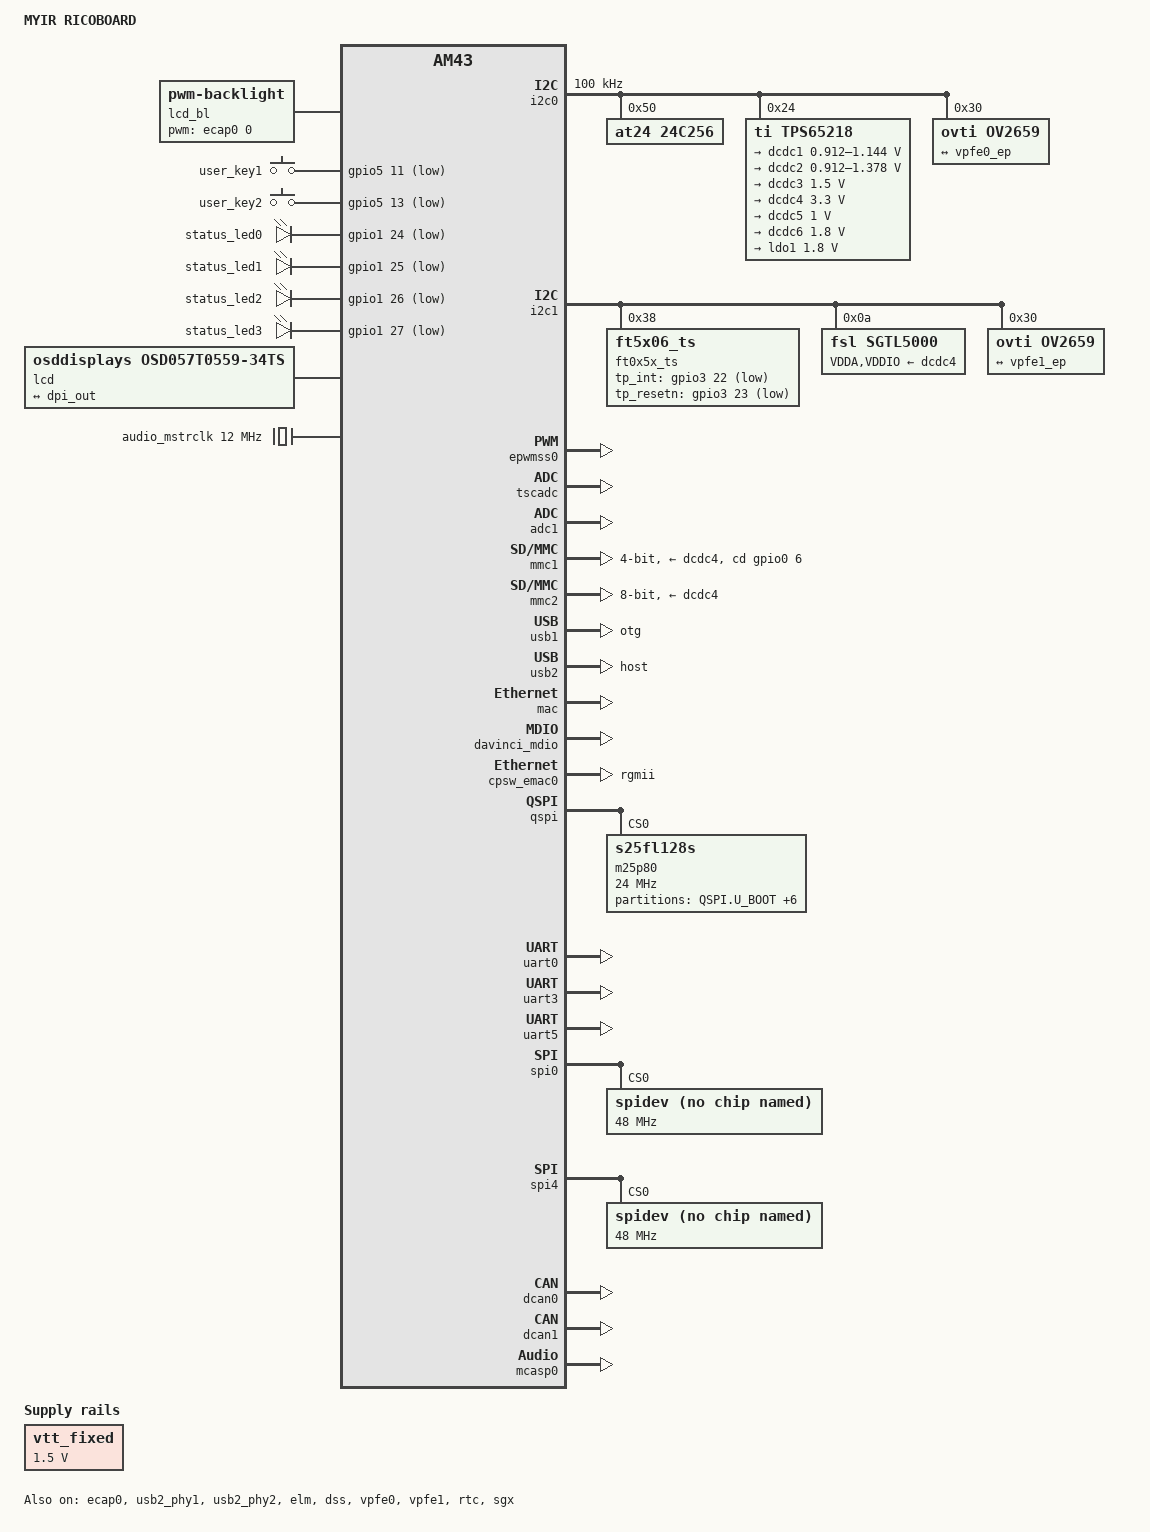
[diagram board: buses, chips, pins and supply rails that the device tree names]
/*
* Copyright (C) 2015 MYIR Tech Limited. - http://www.myirtech.com
*
* This program is free software; you can redistribute it and/or modify
* it under the terms of the GNU General Public License version 2 as
* published by the Free Software Foundation.
*/

/* MYIR RICOBOARD */

/dts-v1/;

#include "am4372.dtsi"
#include <dt-bindings/pinctrl/am43xx.h>
#include <dt-bindings/pwm/pwm.h>
#include <dt-bindings/gpio/gpio.h>
#include <dt-bindings/input/input.h>

/ {
	model = "MYIR RICOBOARD";
	compatible = "myir,ricoboard","ti,am4372","ti,am43";

	aliases {
		display0 = &lcd0;
	};

	vtt_fixed: fixedregulator-vtt {
		compatible = "regulator-fixed";
		regulator-name = "vtt_fixed";
		regulator-min-microvolt = <1500000>;
		regulator-max-microvolt = <1500000>;
		regulator-always-on;
		regulator-boot-on;
		enable-active-high;
//		gpio = <&gpio5 7 GPIO_ACTIVE_HIGH>;
	};

	lcd_bl: backlight {
		compatible = "pwm-backlight";
		pwms = <&ecap0 0 50000 PWM_POLARITY_INVERTED>;
		brightness-levels = <0 51 53 56 62 75 101 152 255>;
		default-brightness-level = <5>;
	};
	/* 4.3 inch, 480x272 resolution LCD, MYiR */
/*	
	lcd_bl: backlight {
		compatible = "pwm-backlight";
		pwms = <&ecap0 0 50000 PWM_POLARITY_INVERTED>;
		brightness-levels = <0 1 5 20 40 80 160 200 255>;
		default-brightness-level = <2>;
	};
*/	
	gpio_keys: gpio_key_pads@0 {
		compatible = "gpio-keys";
		#address-cells = <1>;
		#size-cells = <0>;
		autorepeat;

		switch@1 {
			label = "user_key1";
			linux,code = <102>;
			gpios = <&gpio5 11 GPIO_ACTIVE_LOW>;
			gpio-key,wakeup;
		};
		
		switch@2 {
			label = "user_key2";
			linux,code = <158>;
			gpios = <&gpio5 13 GPIO_ACTIVE_LOW>;
			gpio-key,wakeup;
		};		
	};

	leds {
		compatible = "gpio-leds";

		pinctrl-names = "default";
		pinctrl-0 = <&leds_pins>;
		led@0 {
			label = "status_led0";
			gpios = <&gpio1 24 GPIO_ACTIVE_LOW>;	/* Bank 1, pin 24 */
			linux,default-trigger = "cpu0";
			default-state = "off";
		};

		led@1 {
			label = "status_led1";
			gpios = <&gpio1 25 GPIO_ACTIVE_LOW>;	/* Bank 1, pin 25 */
			linux,default-trigger = "heartbeat";
			default-state = "off";
		};

		led@2 {
			label = "status_led2";
			gpios = <&gpio1 26 GPIO_ACTIVE_LOW>;	/* Bank 1, pin 26 */
			linux,default-trigger = "mmc0";
			default-state = "off";
		};


		led@3 {
			label = "status_led3";
			gpios = <&gpio1 27 GPIO_ACTIVE_LOW>;	/* Bank 1, pin 27 */
			default-state = "off";
		};
	};
		
	lcd0: display {
		compatible = "osddisplays,osd057T0559-34ts", "panel-dpi";
		label = "lcd";

		panel-timing {
			clock-frequency = <36000000>;
			hactive = <800>;
			vactive = <480>;
			hfront-porch = <210>;
			hback-porch = <1>;
			hsync-len = <43>;
			vback-porch = <1>;
			vfront-porch = <22>;
			vsync-len = <22>;
			hsync-active = <0>;
			vsync-active = <0>;
			de-active = <1>;
			pixelclk-active = <1>;
		};

		port {
			lcd_in: endpoint {
				remote-endpoint = <&dpi_out>;
			};
		};
	};
	/* 4.3 inch, 480x272 resolution LCD, MYiR */
/*		
	lcd0: display {
		compatible = "osddisplays,osd057T0559-34ts", "panel-dpi";
		label = "lcd";

		panel-timing {
			clock-frequency = <9600000>;
			hactive = <480>;
			vactive = <272>;
			hfront-porch = <2>;
			hback-porch = <2>;
			hsync-len = <41>;
			vback-porch = <2>;
			vfront-porch = <2>;
			vsync-len = <10>;
			hsync-active = <0>;
			vsync-active = <0>;
			de-active = <1>;
			pixelclk-active = <1>;
		};

		port {
			lcd_in: endpoint {
				remote-endpoint = <&dpi_out>;
			};
		};
	};
*/

	sound0: sound@0 {
		compatible = "simple-audio-card";
		simple-audio-card,name = "MYD-C437X-EVM";
//		simple-audio-card,widgets =
//			"Headphone", "Headphone Jack",
//			"Line", "Line In";
		simple-audio-card,routing =
			"MIC_IN", "Mic Jack",
			"Mic Jack", "Mic Bias",
			"Headphone Jack", "HP_OUT";
		simple-audio-card,format = "i2s";
		simple-audio-card,bitclock-master = <&sound0_master>;
		simple-audio-card,frame-master = <&sound0_master>;
		simple-audio-card,bitclock-inversion;

		simple-audio-card,cpu {
			sound-dai = <&mcasp1>;
			system-clock-frequency = <12000000>;
		};

		sound0_master: simple-audio-card,codec {
			sound-dai = <&sgtl5000>;
			system-clock-frequency = <12000000>;
		};
	};

	audio_mstrclk: mclk_osc {
		compatible = "fixed-clock";
		#clock-cells = <0>;
		clock-frequency = <12000000>;
	};

};

&am43xx_pinmux {
	pinctrl-names = "default", "sleep";
	pinctrl-0 = <&clkout_pins &gpio_keys_pins_default &unused_pins_default>;
	pinctrl-1 = <&unused_pins_sleep &gpio_keys_pins_sleep>;

        clkout_pins: pinmux_clkout_pins {
                pinctrl-single,pins = <
               0x274 (PIN_OUTPUT_PULLUP | MUX_MODE3)    /* xdma_event_intr1.clkout2 */
	       0x270 (PIN_OUTPUT_PULLUP | MUX_MODE3)    /* xdma_event_intr0.clkout1 mode 3*/
                >;
        };

	i2c0_pins_default: i2c0_pins_default {
		pinctrl-single,pins = <
			0x188 (PIN_INPUT | SLEWCTRL_FAST | MUX_MODE0) /* i2c0_sda.i2c0_sda */
			0x18c (PIN_INPUT | SLEWCTRL_FAST | MUX_MODE0) /* i2c0_scl.i2c0_scl */
		>;
	};

	i2c0_pins_sleep: i2c0_pins_sleep {
		pinctrl-single,pins = <
			0x188 (PIN_INPUT_PULLDOWN | MUX_MODE7)
			0x18c (PIN_INPUT_PULLDOWN | MUX_MODE7)
		>;
	};

	i2c1_pins_default: i2c1_pins_default {
		pinctrl-single,pins = <
			0x240 ( PIN_INPUT_PULLUP | SLEWCTRL_FAST | MUX_MODE1 ) /* (G20) gpio5_10.I2C1_SCL */
			0x248 ( PIN_INPUT_PULLUP | SLEWCTRL_FAST | MUX_MODE1 ) /* (E25) gpio5_12.I2C1_SDA */
		>;
	};

	i2c1_pins_sleep: i2c1_pins_sleep {
		pinctrl-single,pins = <
			0x240 (PIN_INPUT_PULLUP | MUX_MODE7)
			0x248 (PIN_INPUT_PULLUP | MUX_MODE7)
		>;
	};

	mmc1_pins_default: pinmux_mmc1_pins_default {
		pinctrl-single,pins = <
			0x100 (PIN_INPUT_PULLUP | MUX_MODE0) /* mmc0_clk.mmc0_clk */
			0x104 (PIN_INPUT_PULLUP | MUX_MODE0) /* mmc0_cmd.mmc0_cmd */
			0x0f0 (PIN_INPUT_PULLUP | MUX_MODE0) /* mmc0_dat0.mmc0_dat0 */
			0x0f4 (PIN_INPUT_PULLUP | MUX_MODE0) /* mmc0_dat1.mmc0_dat1 */
			0x0f8 (PIN_INPUT_PULLUP | MUX_MODE0) /* mmc0_dat2.mmc0_dat2 */
			0x0fc (PIN_INPUT_PULLUP | MUX_MODE0) /* mmc0_dat3.mmc0_dat3 */
			0x160 (PIN_INPUT | MUX_MODE7) /* spi0_cs1.gpio0_6 */
		>;
	};

	mmc1_pins_sleep: pinmux_mmc1_pins_sleep {
		pinctrl-single,pins = <
			0x100 (PIN_INPUT_PULLDOWN | MUX_MODE7)
			0x104 (PIN_INPUT | PULL_DISABLE | MUX_MODE7)
			0x0f0 (PIN_INPUT | PULL_DISABLE | MUX_MODE7)
			0x0f4 (PIN_INPUT | PULL_DISABLE | MUX_MODE7)
			0x0f8 (PIN_INPUT | PULL_DISABLE | MUX_MODE7)
			0x0fc (PIN_INPUT | PULL_DISABLE | MUX_MODE7)
			0x160 (PIN_INPUT | PULL_DISABLE | MUX_MODE7)
		>;
	};

	emmc_pins_default: emmc_pins_default {
		pinctrl-single,pins = <
			0x80 ( PIN_INPUT_PULLUP | MUX_MODE2 ) /* (B9) gpmc_csn1.mmc1_clk */
			0x84 ( PIN_INPUT_PULLUP | MUX_MODE2 ) /* (F10) gpmc_csn2.mmc1_cmd */
			0x00 ( PIN_INPUT_PULLUP | MUX_MODE1 ) /* (B5) gpmc_ad0.mmc1_dat0 */
			0x04 ( PIN_INPUT_PULLUP | MUX_MODE1 ) /* (A5) gpmc_ad1.mmc1_dat1 */
			0x08 ( PIN_INPUT_PULLUP | MUX_MODE1 ) /* (B6) gpmc_ad2.mmc1_dat2 */
			0x0c ( PIN_INPUT_PULLUP | MUX_MODE1 ) /* (A6) gpmc_ad3.mmc1_dat3 */
			0x10 ( PIN_INPUT_PULLUP | MUX_MODE1 ) /* (B7) gpmc_ad4.mmc1_dat4 */
			0x14 ( PIN_INPUT_PULLUP | MUX_MODE1 ) /* (A7) gpmc_ad5.mmc1_dat5 */
			0x18 ( PIN_INPUT_PULLUP | MUX_MODE1 ) /* (C8) gpmc_ad6.mmc1_dat6 */
			0x1c ( PIN_INPUT_PULLUP | MUX_MODE1 ) /* (B8) gpmc_ad7.mmc1_dat7 */
		>;
	};

	emmc_pins_sleep: emmc_pins_sleep {
		pinctrl-single,pins = <
			0x80 (PIN_INPUT_PULLDOWN | MUX_MODE7) /* (B9) gpmc_csn1.mmc1_clk */
			0x84 (PIN_INPUT_PULLDOWN | MUX_MODE7) /* (F10) gpmc_csn2.mmc1_cmd */
			0x00 (PIN_INPUT_PULLDOWN | MUX_MODE7) /* (B5) gpmc_ad0.mmc1_dat0 */
			0x04 (PIN_INPUT_PULLDOWN | MUX_MODE7) /* (A5) gpmc_ad1.mmc1_dat1 */
			0x08 (PIN_INPUT_PULLDOWN | MUX_MODE7) /* (B6) gpmc_ad2.mmc1_dat2 */
			0x0c (PIN_INPUT_PULLDOWN | MUX_MODE7) /* (A6) gpmc_ad3.mmc1_dat3 */
			0x10 (PIN_INPUT_PULLDOWN | MUX_MODE7) /* (B7) gpmc_ad4.mmc1_dat4 */
			0x14 (PIN_INPUT_PULLDOWN | MUX_MODE7) /* (A7) gpmc_ad5.mmc1_dat5 */
			0x18 (PIN_INPUT_PULLDOWN | MUX_MODE7) /* (C8) gpmc_ad6.mmc1_dat6 */
			0x1c (PIN_INPUT_PULLDOWN | MUX_MODE7) /* (B8) gpmc_ad7.mmc1_dat7 */
		>;
	};

	ecap0_pins_default: backlight_pins_default {
		pinctrl-single,pins = <
			0x164 MUX_MODE0       /* eCAP0_in_PWM0_out.eCAP0_in_PWM0_out MODE0 */
		>;
	};

	ecap0_pins_sleep: backlight_pins_sleep {
		pinctrl-single,pins = <
			0x164 (PIN_INPUT_PULLDOWN | MUX_MODE7)
		>;
	};

	pixcir_ts_pins_default: pixcir_ts_pins_default {
		pinctrl-single,pins = <
			0x264 (PIN_INPUT_PULLUP | MUX_MODE7)  /* spi2_d0.gpio3_22 */
		>;
	};

	pixcir_ts_pins_sleep: pixcir_ts_pins_sleep {
		pinctrl-single,pins = <
			0x264 (PIN_INPUT | PULL_DISABLE | MUX_MODE7)  /* spi2_d0.gpio3_22 */
		>;
	};
	
	ft5x0x_pins_default: ft5x0x_pins_default {
		pinctrl-single,pins = <
			0x264 ( PIN_INPUT | MUX_MODE7 ) /* (P22) spi2_d0.gpio3[22] */
			0x268 ( PIN_OUTPUT_PULLUP | MUX_MODE7 ) /* (P20) spi2_d1.gpio3[23] */
		>;
	};

	ft5x0x_pins_sleep: ft5x0x_pins_sleep {
		pinctrl-single,pins = <
			0x264 ( PIN_INPUT_PULLDOWN | MUX_MODE7 ) /* (P22) spi2_d0.gpio3[22] */
			0x268 ( PIN_INPUT_PULLDOWN | MUX_MODE7 ) /* (P20) spi2_d1.gpio3[23] */
		>;
	};

	cpsw_default: cpsw_default {
		pinctrl-single,pins = <
			/* Slave 1 */
			0x114 (PIN_OUTPUT_PULLDOWN | MUX_MODE2)	/* mii1_txen.rgmii1_txen */
			0x118 (PIN_INPUT_PULLDOWN | MUX_MODE2)	/* mii1_rxdv.rgmii1_rxctl */
			0x11c (PIN_OUTPUT_PULLDOWN | MUX_MODE2)	/* mii1_txd1.rgmii1_txd3 */
			0x120 (PIN_OUTPUT_PULLDOWN | MUX_MODE2)	/* mii1_txd0.rgmii1_txd2 */
			0x124 (PIN_OUTPUT_PULLDOWN | MUX_MODE2)	/* mii1_txd1.rgmii1_txd1 */
			0x128 (PIN_OUTPUT_PULLDOWN | MUX_MODE2)	/* mii1_txd0.rgmii1_txd0 */
			0x12c (PIN_OUTPUT_PULLDOWN | MUX_MODE2)	/* mii1_txclk.rmii1_tclk */
			0x130 (PIN_INPUT_PULLDOWN | MUX_MODE2)	/* mii1_rxclk.rmii1_rclk */
			0x134 (PIN_INPUT_PULLDOWN | MUX_MODE2)	/* mii1_rxd1.rgmii1_rxd3 */
			0x138 (PIN_INPUT_PULLDOWN | MUX_MODE2)	/* mii1_rxd0.rgmii1_rxd2 */
			0x13c (PIN_INPUT_PULLDOWN | MUX_MODE2)	/* mii1_rxd1.rgmii1_rxd1 */
			0x140 (PIN_INPUT_PULLDOWN | MUX_MODE2)	/* mii1_rxd0.rgmii1_rxd0 */

//			/* Slave 2 */
//			0x58 (PIN_OUTPUT_PULLDOWN | MUX_MODE2)	/* gpmc_a6.rgmii2_tclk */
//			0x40 (PIN_OUTPUT_PULLDOWN | MUX_MODE2)	/* gpmc_a0.rgmii2_tctl */
//			0x54 (PIN_OUTPUT_PULLDOWN | MUX_MODE2)	/* gpmc_a5.rgmii2_td0 */
//			0x50 (PIN_OUTPUT_PULLDOWN | MUX_MODE2)	/* gpmc_a4.rgmii2_td1 */
//			0x4c (PIN_OUTPUT_PULLDOWN | MUX_MODE2)	/* gpmc_a3.rgmii2_td2 */
//			0x48 (PIN_OUTPUT_PULLDOWN | MUX_MODE2)	/* gpmc_a2.rgmii2_td3 */
//			0x5c (PIN_INPUT_PULLDOWN | MUX_MODE2)	/* gpmc_a7.rgmii2_rclk */
//			0x44 (PIN_INPUT_PULLDOWN | MUX_MODE2)	/* gpmc_a1.rgmii2_rtcl */
//			0x6c (PIN_INPUT_PULLDOWN | MUX_MODE2)	/* gpmc_a11.rgmii2_rd0 */
//			0x68 (PIN_INPUT_PULLDOWN | MUX_MODE2)	/* gpmc_a10.rgmii2_rd1 */
//			0x64 (PIN_INPUT_PULLDOWN | MUX_MODE2)	/* gpmc_a9.rgmii2_rd2 */
//			0x60 (PIN_INPUT_PULLDOWN | MUX_MODE2)	/* gpmc_a8.rgmii2_rd3 */
		>;
	};

	cpsw_sleep: cpsw_sleep {
		pinctrl-single,pins = <
			/* Slave 1 reset value */
			0x114 (PIN_INPUT_PULLDOWN | MUX_MODE7)
			0x118 (PIN_INPUT_PULLDOWN | MUX_MODE7)
			0x11c (PIN_INPUT_PULLDOWN | MUX_MODE7)
			0x120 (PIN_INPUT_PULLDOWN | MUX_MODE7)
			0x124 (PIN_INPUT_PULLDOWN | MUX_MODE7)
			0x128 (PIN_INPUT_PULLDOWN | MUX_MODE7)
			0x12c (PIN_INPUT_PULLDOWN | MUX_MODE7)
			0x130 (PIN_INPUT_PULLDOWN | MUX_MODE7)
			0x134 (PIN_INPUT | PULL_DISABLE | MUX_MODE7)
			0x138 (PIN_INPUT | PULL_DISABLE | MUX_MODE7)
			0x13c (PIN_INPUT | PULL_DISABLE | MUX_MODE7)
			0x140 (PIN_INPUT | PULL_DISABLE | MUX_MODE7)

//			/* Slave 2 reset value */
//			0x58 (PIN_INPUT_PULLDOWN | MUX_MODE7)
//			0x40 (PIN_INPUT_PULLDOWN | MUX_MODE7)
//			0x54 (PIN_INPUT_PULLDOWN | MUX_MODE7)
//			0x50 (PIN_INPUT_PULLDOWN | MUX_MODE7)
//			0x4c (PIN_INPUT_PULLDOWN | MUX_MODE7)
//			0x48 (PIN_INPUT_PULLDOWN | MUX_MODE7)
//			0x5c (PIN_INPUT_PULLDOWN | MUX_MODE7)
//			0x44 (PIN_INPUT_PULLDOWN | MUX_MODE7)
//			0x6c (PIN_INPUT_PULLDOWN | MUX_MODE7)
//			0x68 (PIN_INPUT_PULLDOWN | MUX_MODE7)
//			0x64 (PIN_INPUT_PULLDOWN | MUX_MODE7)
//			0x60 (PIN_INPUT_PULLDOWN | MUX_MODE7)
		>;
	};

	davinci_mdio_default: davinci_mdio_default {
		pinctrl-single,pins = <
			/* MDIO */
			0x148 (PIN_INPUT_PULLUP | SLEWCTRL_FAST | MUX_MODE0)	/* mdio_data.mdio_data */
			0x14c (PIN_OUTPUT_PULLUP | MUX_MODE0)			/* mdio_clk.mdio_clk */
		>;
	};

	davinci_mdio_sleep: davinci_mdio_sleep {
		pinctrl-single,pins = <
			/* MDIO reset value */
			0x148 (PIN_INPUT | PULL_DISABLE | MUX_MODE7)
			0x14c (PIN_INPUT | PULL_DISABLE | MUX_MODE7)
		>;
	};

	qspi1_default: qspi1_default {
		pinctrl-single,pins = <
			0x7c (PIN_INPUT_PULLUP | MUX_MODE3)
			0x88 (PIN_INPUT_PULLUP | MUX_MODE2)
			0x90 (PIN_INPUT_PULLUP | MUX_MODE3)
			0x94 (PIN_INPUT_PULLUP | MUX_MODE3)
			0x98 (PIN_INPUT_PULLUP | MUX_MODE3)
			0x9c (PIN_INPUT_PULLUP | MUX_MODE3)
		>;
	};

	nand_flash_x8_default: nand_flash_x8_default {
		pinctrl-single,pins = <
			0x0  (PIN_INPUT  | MUX_MODE0)	/* gpmc_ad0.gpmc_ad0 */
			0x4  (PIN_INPUT  | MUX_MODE0)	/* gpmc_ad1.gpmc_ad1 */
			0x8  (PIN_INPUT  | MUX_MODE0)	/* gpmc_ad2.gpmc_ad2 */
			0xc  (PIN_INPUT  | MUX_MODE0)	/* gpmc_ad3.gpmc_ad3 */
			0x10 (PIN_INPUT  | MUX_MODE0)	/* gpmc_ad4.gpmc_ad4 */
			0x14 (PIN_INPUT  | MUX_MODE0)	/* gpmc_ad5.gpmc_ad5 */
			0x18 (PIN_INPUT  | MUX_MODE0)	/* gpmc_ad6.gpmc_ad6 */
			0x1c (PIN_INPUT  | MUX_MODE0)	/* gpmc_ad7.gpmc_ad7 */
			0x70 (PIN_INPUT_PULLUP | MUX_MODE0)	/* gpmc_wait0.gpmc_wait0 */
			0x74 (PIN_OUTPUT_PULLUP | MUX_MODE7)	/* gpmc_wpn.gpmc_wpn */
			0x7c (PIN_OUTPUT | MUX_MODE0)		/* gpmc_csn0.gpmc_csn0  */
			0x90 (PIN_OUTPUT | MUX_MODE0)		/* gpmc_advn_ale.gpmc_advn_ale */
			0x94 (PIN_OUTPUT | MUX_MODE0)		/* gpmc_oen_ren.gpmc_oen_ren */
			0x98 (PIN_OUTPUT | MUX_MODE0)		/* gpmc_wen.gpmc_wen */
			0x9c (PIN_OUTPUT | MUX_MODE0)		/* gpmc_be0n_cle.gpmc_be0n_cle */
		>;
	};

	nand_flash_x8_sleep: nand_flash_x8_sleep {
		pinctrl-single,pins = <
			0x0  (PIN_INPUT_PULLDOWN | MUX_MODE7)	/* gpmc_ad0.gpmc_ad0 */
			0x4  (PIN_INPUT_PULLDOWN | MUX_MODE7)	/* gpmc_ad1.gpmc_ad1 */
			0x8  (PIN_INPUT_PULLDOWN | MUX_MODE7)	/* gpmc_ad2.gpmc_ad2 */
			0xc  (PIN_INPUT_PULLDOWN | MUX_MODE7)	/* gpmc_ad3.gpmc_ad3 */
			0x10 (PIN_INPUT_PULLDOWN | MUX_MODE7)	/* gpmc_ad4.gpmc_ad4 */
			0x14 (PIN_INPUT_PULLDOWN | MUX_MODE7)	/* gpmc_ad5.gpmc_ad5 */
			0x18 (PIN_INPUT_PULLDOWN | MUX_MODE7)	/* gpmc_ad6.gpmc_ad6 */
			0x1c (PIN_INPUT_PULLDOWN | MUX_MODE7)	/* gpmc_ad7.gpmc_ad7 */
			0x70 (PIN_INPUT | PULL_DISABLE | MUX_MODE7)	/* gpmc_wait0.gpmc_wait0 */
			0x74 (PIN_INPUT_PULLDOWN | MUX_MODE7)	/* gpmc_wpn.gpmc_wpn */
			0x7c (PIN_INPUT | PULL_DISABLE | MUX_MODE7)		/* gpmc_csn0.gpmc_csn0  */
			0x90 (PIN_INPUT | PULL_DISABLE | MUX_MODE7)		/* gpmc_advn_ale.gpmc_advn_ale */
			0x94 (PIN_INPUT_PULLDOWN | MUX_MODE7)		/* gpmc_oen_ren.gpmc_oen_ren */
			0x98 (PIN_INPUT_PULLDOWN |  MUX_MODE7)		/* gpmc_wen.gpmc_wen */
			0x9c (PIN_INPUT | PULL_DISABLE | MUX_MODE7)		/* gpmc_be0n_cle.gpmc_be0n_cle */
		>;
	};

	dss_pinctrl_default: dss_pinctrl_default {
		pinctrl-single,pins = <
			0x020 (PIN_OUTPUT_PULLUP | MUX_MODE1) /*gpmc ad 8 -> DSS DATA 23 */
			0x024 (PIN_OUTPUT_PULLUP | MUX_MODE1)
			0x028 (PIN_OUTPUT_PULLUP | MUX_MODE1)
			0x02C (PIN_OUTPUT_PULLUP | MUX_MODE1)
			0x030 (PIN_OUTPUT_PULLUP | MUX_MODE1)
			0x034 (PIN_OUTPUT_PULLUP | MUX_MODE1)
			0x038 (PIN_OUTPUT_PULLUP | MUX_MODE1)
			0x03C (PIN_OUTPUT_PULLUP | MUX_MODE1) /*gpmc ad 15 -> DSS DATA 16 */
			0x0a0 (PIN_OUTPUT_PULLUP | MUX_MODE0) /* DSS DATA 0 */
			0x0a4 (PIN_OUTPUT_PULLUP | MUX_MODE0)
			0x0a8 (PIN_OUTPUT_PULLUP | MUX_MODE0)
			0x0ac (PIN_OUTPUT_PULLUP | MUX_MODE0)
			0x0b0 (PIN_OUTPUT_PULLUP | MUX_MODE0)
			0x0b4 (PIN_OUTPUT_PULLUP | MUX_MODE0)
			0x0b8 (PIN_OUTPUT_PULLUP | MUX_MODE0)
			0x0bc (PIN_OUTPUT_PULLUP | MUX_MODE0)
			0x0c0 (PIN_OUTPUT_PULLUP | MUX_MODE0)
			0x0c4 (PIN_OUTPUT_PULLUP | MUX_MODE0)
			0x0c8 (PIN_OUTPUT_PULLUP | MUX_MODE0)
			0x0cc (PIN_OUTPUT_PULLUP | MUX_MODE0)
			0x0d0 (PIN_OUTPUT_PULLUP | MUX_MODE0)
			0x0d4 (PIN_OUTPUT_PULLUP | MUX_MODE0)
			0x0d8 (PIN_OUTPUT_PULLUP | MUX_MODE0)
			0x0dc (PIN_OUTPUT_PULLUP | MUX_MODE0) /* DSS DATA 15 */
			0x0e0 (PIN_OUTPUT_PULLUP | MUX_MODE0) /* DSS VSYNC */
			0x0e4 (PIN_OUTPUT_PULLUP | MUX_MODE0) /* DSS HSYNC */
			0x0e8 (PIN_OUTPUT_PULLUP | MUX_MODE0) /* DSS PCLK */
			0x0ec (PIN_OUTPUT_PULLUP | MUX_MODE0) /* DSS AC BIAS EN */
			0x26c ( PIN_OUTPUT_PULLUP | MUX_MODE7 ) /* (T23) spi2_cs0.gpio3[25]  GPIO 3_25 for LCD_RESET */
		>;
	};

	dss_pinctrl_sleep: dss_pinctrl_sleep {
		pinctrl-single,pins = <
			0x020 (DS0_PULL_UP_DOWN_EN | PIN_INPUT_PULLDOWN | MUX_MODE7)
			0x024 (DS0_PULL_UP_DOWN_EN | PIN_INPUT_PULLDOWN | MUX_MODE7)
			0x028 (DS0_PULL_UP_DOWN_EN | PIN_INPUT_PULLDOWN | MUX_MODE7)
			0x02C (DS0_PULL_UP_DOWN_EN | PIN_INPUT_PULLDOWN | MUX_MODE7)
			0x030 (DS0_PULL_UP_DOWN_EN | PIN_INPUT_PULLDOWN | MUX_MODE7)
			0x034 (DS0_PULL_UP_DOWN_EN | PIN_INPUT_PULLDOWN | MUX_MODE7)
			0x038 (DS0_PULL_UP_DOWN_EN | PIN_INPUT_PULLDOWN | MUX_MODE7)
			0x03C (DS0_PULL_UP_DOWN_EN | PIN_INPUT_PULLDOWN | MUX_MODE7)
			0x0A0 (DS0_PULL_UP_DOWN_EN | INPUT_EN | PULL_DISABLE | MUX_MODE7)
			0x0A4 (DS0_PULL_UP_DOWN_EN | INPUT_EN | PULL_DISABLE | MUX_MODE7)
			0x0A8 (DS0_PULL_UP_DOWN_EN | INPUT_EN | PULL_DISABLE | MUX_MODE7)
			0x0AC (DS0_PULL_UP_DOWN_EN | INPUT_EN | PULL_DISABLE | MUX_MODE7)
			0x0B0 (DS0_PULL_UP_DOWN_EN | INPUT_EN | PULL_DISABLE | MUX_MODE7)
			0x0B4 (DS0_PULL_UP_DOWN_EN | INPUT_EN | PULL_DISABLE | MUX_MODE7)
			0x0B8 (DS0_PULL_UP_DOWN_EN | INPUT_EN | PULL_DISABLE | MUX_MODE7)
			0x0BC (DS0_PULL_UP_DOWN_EN | PIN_INPUT_PULLDOWN | MUX_MODE7)
			0x0C0 (DS0_PULL_UP_DOWN_EN | PIN_INPUT_PULLDOWN | MUX_MODE7)
			0x0C4 (DS0_PULL_UP_DOWN_EN | INPUT_EN | PULL_DISABLE | MUX_MODE7)
			0x0C8 (DS0_PULL_UP_DOWN_EN | PIN_INPUT_PULLDOWN | MUX_MODE7)
			0x0CC (DS0_PULL_UP_DOWN_EN | PIN_INPUT_PULLDOWN | MUX_MODE7)
			0x0D0 (DS0_PULL_UP_DOWN_EN | INPUT_EN | PULL_DISABLE | MUX_MODE7)
			0x0D4 (DS0_PULL_UP_DOWN_EN | INPUT_EN | PULL_DISABLE | MUX_MODE7)
			0x0D8 (DS0_PULL_UP_DOWN_EN | INPUT_EN | PULL_DISABLE | MUX_MODE7)
			0x0DC (DS0_PULL_UP_DOWN_EN | PIN_INPUT_PULLDOWN | MUX_MODE7)
			0x0E0 (DS0_PULL_UP_DOWN_EN | PIN_INPUT_PULLDOWN | MUX_MODE7)
			0x0E4 (DS0_PULL_UP_DOWN_EN | PIN_INPUT_PULLDOWN | MUX_MODE7)
			0x0E8 (DS0_PULL_UP_DOWN_EN | PIN_INPUT_PULLDOWN | MUX_MODE7)
			0x0EC (DS0_PULL_UP_DOWN_EN | PIN_INPUT_PULLDOWN | MUX_MODE7)
		>;
	};


	dcan0_default: dcan0_default_pins {
		pinctrl-single,pins = <
			0x178 (PIN_OUTPUT | MUX_MODE2)		/* uart1_ctsn.d_can0_tx */
			0x17c (PIN_INPUT_PULLUP | MUX_MODE2)	/* uart1_rtsn.d_can0_rx */
		>;
	};

	dcan0_sleep: dcan0_sleep_pins {
		pinctrl-single,pins = <
			0x178 (PIN_INPUT_PULLUP | MUX_MODE7)	/* uart1_ctsn.gpio0_12 */
			0x17c (PIN_INPUT_PULLUP | MUX_MODE7)	/* uart1_rtsn.gpio0_13 */
		>;
	};

	dcan1_default: dcan1_default_pins {
		pinctrl-single,pins = <
			0x180 (PIN_OUTPUT | MUX_MODE2)		/* uart1_rxd.d_can1_tx */
			0x184 (PIN_INPUT_PULLUP | MUX_MODE2)	/* uart1_txd.d_can1_rx */
		>;
	};

	dcan1_sleep: dcan1_sleep_pins {
		pinctrl-single,pins = <
			0x180 (PIN_INPUT_PULLUP | MUX_MODE7)	/* uart1_rxd.gpio0_14 */
			0x184 (PIN_INPUT_PULLUP | MUX_MODE7)	/* uart1_txd.gpio0_15 */
		>;
	};

	vpfe0_pins_default: vpfe0_pins_default {
		pinctrl-single,pins = <
			0x1B0 (PIN_INPUT_PULLUP | MUX_MODE0)  /* cam0_hd mode 0*/
			0x1B4 (PIN_INPUT_PULLUP | MUX_MODE0)  /* cam0_vd mode 0*/
			0x1B8 (PIN_INPUT_PULLUP | MUX_MODE0)  /* cam0_field mode 0*/
			0x1BC (PIN_INPUT_PULLUP | MUX_MODE0)  /* cam0_wen mode 0*/
			0x1C0 (PIN_INPUT_PULLUP | MUX_MODE0)  /* cam0_pclk mode 0*/
			0x1C4 (PIN_INPUT_PULLUP | MUX_MODE0)  /* cam0_data8 mode 0*/
			0x1C8 (PIN_INPUT_PULLUP | MUX_MODE0)  /* cam0_data9 mode 0*/
			0x208 (PIN_INPUT_PULLUP | MUX_MODE0)  /* cam0_data0 mode 0*/
			0x20C (PIN_INPUT_PULLUP | MUX_MODE0)  /* cam0_data1 mode 0*/
			0x210 (PIN_INPUT_PULLUP | MUX_MODE0)  /* cam0_data2 mode 0*/
			0x214 (PIN_INPUT_PULLUP | MUX_MODE0)  /* cam0_data3 mode 0*/
			0x218 (PIN_INPUT_PULLUP | MUX_MODE0)  /* cam0_data4 mode 0*/
			0x21C (PIN_INPUT_PULLUP | MUX_MODE0)  /* cam0_data5 mode 0*/
			0x220 (PIN_INPUT_PULLUP | MUX_MODE0)  /* cam0_data6 mode 0*/
			0x224 (PIN_INPUT_PULLUP | MUX_MODE0)  /* cam0_data7 mode 0*/
		>;
	};

	vpfe0_pins_sleep: vpfe0_pins_sleep {
		pinctrl-single,pins = <
			0x1B0 (DS0_PULL_UP_DOWN_EN | INPUT_EN | MUX_MODE7)  /* cam0_hd mode 0*/
			0x1B4 (DS0_PULL_UP_DOWN_EN | INPUT_EN | MUX_MODE7)  /* cam0_vd mode 0*/
			0x1B8 (DS0_PULL_UP_DOWN_EN | INPUT_EN | MUX_MODE7)  /* cam0_field mode 0*/
			0x1BC (DS0_PULL_UP_DOWN_EN | INPUT_EN | MUX_MODE7)  /* cam0_wen mode 0*/
			0x1C0 (DS0_PULL_UP_DOWN_EN | INPUT_EN | MUX_MODE7)  /* cam0_pclk mode 0*/
			0x1C4 (DS0_PULL_UP_DOWN_EN | INPUT_EN | MUX_MODE7)  /* cam0_data8 mode 0*/
			0x1C8 (DS0_PULL_UP_DOWN_EN | INPUT_EN | MUX_MODE7)  /* cam0_data9 mode 0*/
			0x208 (DS0_PULL_UP_DOWN_EN | INPUT_EN | MUX_MODE7)  /* cam0_data0 mode 0*/
			0x20C (DS0_PULL_UP_DOWN_EN | INPUT_EN | MUX_MODE7)  /* cam0_data1 mode 0*/
			0x210 (DS0_PULL_UP_DOWN_EN | INPUT_EN | MUX_MODE7)  /* cam0_data2 mode 0*/
			0x214 (DS0_PULL_UP_DOWN_EN | INPUT_EN | MUX_MODE7)  /* cam0_data3 mode 0*/
			0x218 (DS0_PULL_UP_DOWN_EN | INPUT_EN | MUX_MODE7)  /* cam0_data4 mode 0*/
			0x21C (DS0_PULL_UP_DOWN_EN | INPUT_EN | MUX_MODE7)  /* cam0_data5 mode 0*/
			0x220 (DS0_PULL_UP_DOWN_EN | INPUT_EN | MUX_MODE7)  /* cam0_data6 mode 0*/
			0x224 (DS0_PULL_UP_DOWN_EN | INPUT_EN | MUX_MODE7)  /* cam0_data7 mode 0*/
		>;
	};

	vpfe1_pins_default: vpfe1_pins_default {
		pinctrl-single,pins = <
			0x1CC (PIN_INPUT_PULLUP | MUX_MODE0)  /* cam1_data9 mode 0*/
			0x1D0 (PIN_INPUT_PULLUP | MUX_MODE0)  /* cam1_data8 mode 0*/
			0x1D4 (PIN_INPUT_PULLUP | MUX_MODE0)  /* cam1_hd mode 0*/
			0x1D8 (PIN_INPUT_PULLUP | MUX_MODE0)  /* cam1_vd mode 0*/
			0x1DC (PIN_INPUT_PULLUP | MUX_MODE0)  /* cam1_pclk mode 0*/
			0x1E0 (PIN_INPUT_PULLUP | MUX_MODE0)  /* cam1_field mode 0*/
			0x1E4 (PIN_INPUT_PULLUP | MUX_MODE0)  /* cam1_wen mode 0*/
			0x1E8 (PIN_INPUT_PULLUP | MUX_MODE0)  /* cam1_data0 mode 0*/
			0x1EC (PIN_INPUT_PULLUP | MUX_MODE0)  /* cam1_data1 mode 0*/
			0x1F0 (PIN_INPUT_PULLUP | MUX_MODE0)  /* cam1_data2 mode 0*/
			0x1F4 (PIN_INPUT_PULLUP | MUX_MODE0)  /* cam1_data3 mode 0*/
			0x1F8 (PIN_INPUT_PULLUP | MUX_MODE0)  /* cam1_data4 mode 0*/
			0x1FC (PIN_INPUT_PULLUP | MUX_MODE0)  /* cam1_data5 mode 0*/
			0x200 (PIN_INPUT_PULLUP | MUX_MODE0)  /* cam1_data6 mode 0*/
			0x204 (PIN_INPUT_PULLUP | MUX_MODE0)  /* cam1_data7 mode 0*/
		>;
	};

	vpfe1_pins_sleep: vpfe1_pins_sleep {
		pinctrl-single,pins = <
			0x1CC (DS0_PULL_UP_DOWN_EN | INPUT_EN | MUX_MODE7)  /* cam1_data9 mode 0*/
			0x1D0 (DS0_PULL_UP_DOWN_EN | INPUT_EN | MUX_MODE7)  /* cam1_data8 mode 0*/
			0x1D4 (DS0_PULL_UP_DOWN_EN | INPUT_EN | MUX_MODE7)  /* cam1_hd mode 0*/
			0x1D8 (DS0_PULL_UP_DOWN_EN | INPUT_EN | MUX_MODE7)  /* cam1_vd mode 0*/
			0x1DC (DS0_PULL_UP_DOWN_EN | INPUT_EN | MUX_MODE7)  /* cam1_pclk mode 0*/
			0x1E0 (DS0_PULL_UP_DOWN_EN | INPUT_EN | MUX_MODE7)  /* cam1_field mode 0*/
			0x1E4 (DS0_PULL_UP_DOWN_EN | INPUT_EN | MUX_MODE7)  /* cam1_wen mode 0*/
			0x1E8 (DS0_PULL_UP_DOWN_EN | INPUT_EN | MUX_MODE7)  /* cam1_data0 mode 0*/
			0x1EC (DS0_PULL_UP_DOWN_EN | INPUT_EN | MUX_MODE7)  /* cam1_data1 mode 0*/
			0x1F0 (DS0_PULL_UP_DOWN_EN | INPUT_EN | MUX_MODE7)  /* cam1_data2 mode 0*/
			0x1F4 (DS0_PULL_UP_DOWN_EN | INPUT_EN | MUX_MODE7)  /* cam1_data3 mode 0*/
			0x1F8 (DS0_PULL_UP_DOWN_EN | INPUT_EN | MUX_MODE7)  /* cam1_data4 mode 0*/
			0x1FC (DS0_PULL_UP_DOWN_EN | INPUT_EN | MUX_MODE7)  /* cam1_data5 mode 0*/
			0x200 (DS0_PULL_UP_DOWN_EN | INPUT_EN | MUX_MODE7)  /* cam1_data6 mode 0*/
			0x204 (DS0_PULL_UP_DOWN_EN | INPUT_EN | MUX_MODE7)  /* cam1_data7 mode 0*/
		>;
	};
	
	mcasp0_pins_default: mcasp0_pins_default {
		pinctrl-single,pins = <
			0x190 ( PIN_INPUT_PULLDOWN | MUX_MODE0 ) /* (N24) mcasp0_aclkx.mcasp0_aclkx */
			0x194 ( PIN_INPUT_PULLDOWN | MUX_MODE0 ) /* (N22) mcasp0_fsx.mcasp0_fsx */
			0x198 ( PIN_OUTPUT_PULLDOWN | MUX_MODE0 ) /* (H23) mcasp0_axr0.mcasp0_axr0 */
		>;
	};

	/* Optional sleep pin settings. Must manually enter values in the below skeleton. */
	mcasp0_pins_sleep: mcasp0_pins_sleep {
		pinctrl-single,pins = <
			0x190 (PIN_INPUT_PULLDOWN | MUX_MODE7 ) /* (N24) mcasp0_aclkx.mcasp0_aclkx */
			0x194 (PIN_INPUT_PULLDOWN | MUX_MODE7 ) /* (N22) mcasp0_fsx.mcasp0_fsx */
			0x198 (PIN_INPUT_PULLDOWN | MUX_MODE7 ) /* (H23) mcasp0_axr0.mcasp0_axr0 */
		>;
	};
	
	mcasp1_pins: mcasp1_pins {
		pinctrl-single,pins = <
			0x1a0 ( PIN_INPUT_PULLDOWN | MUX_MODE3 ) /* (L23) mcasp0_aclkr.mcasp1_aclkx */
			0x1a4 ( PIN_INPUT_PULLDOWN | MUX_MODE3 ) /* (K23) mcasp0_fsr.mcasp1_fsx */
			0x1a8 ( PIN_OUTPUT_PULLDOWN | MUX_MODE3 ) /* (M25) mcasp0_axr1.mcasp1_axr0 */
			0x1ac ( PIN_INPUT_PULLDOWN | MUX_MODE3 ) /* (L24) mcasp0_ahclkx.mcasp1_axr1 */
		>;
	};

	mcasp1_sleep_pins: mcasp1_sleep_pins {
		pinctrl-single,pins = <
			0x1a0 (PIN_INPUT_PULLDOWN | MUX_MODE7)
			0x1a4(PIN_INPUT_PULLDOWN | MUX_MODE7)
			0x1a8 (PIN_INPUT_PULLDOWN | MUX_MODE7)
			0x1ac (PIN_INPUT_PULLDOWN | MUX_MODE7)
		>;
	};

	gpio_keys_pins_default: gpio_keys_pins_default {
		pinctrl-single,pins = <
			0x244 ( PIN_INPUT_PULLUP | MUX_MODE7 ) /* (F23) gpio5_11.gpio5[11] */
			0x24c ( PIN_INPUT_PULLUP | MUX_MODE7 ) /* (E24) gpio5_13.gpio5[13] */
		>;
	};
	
	gpio_keys_pins_sleep: gpio_keys_pins_sleep {
		pinctrl-single,pins = <
			0x244 ( PIN_INPUT_PULLUP | MUX_MODE7 ) /* (F23) gpio5_11.gpio5[11] */
			0x24c ( PIN_INPUT_PULLUP | MUX_MODE7 ) /* (E24) gpio5_13.gpio5[13] */
		>;
	};
	
	leds_pins: leds_pins {
		pinctrl-single,pins = <
			0x60 ( PIN_OUTPUT_PULLUP | MUX_MODE7 ) /* (F7) gpmc_a8.gpio1[24] */
			0x64 ( PIN_OUTPUT_PULLUP | MUX_MODE7 ) /* (B4) gpmc_a9.gpio1[25] */
			0x68 ( PIN_OUTPUT_PULLUP | MUX_MODE7 ) /* (G8) gpmc_a10.gpio1[26] */
			0x6c ( PIN_OUTPUT_PULLUP | MUX_MODE7 ) /* (D8) gpmc_a11.gpio1[27] */
		>;
	};

	uart0_pins_default: uart0_pins_default {
		pinctrl-single,pins = <
			0x168 (DS0_PULL_UP_DOWN_EN | INPUT_EN | MUX_MODE0)
			0x16C (DS0_PULL_UP_DOWN_EN | INPUT_EN | MUX_MODE0)
			0x170 (PIN_INPUT_PULLUP | SLEWCTRL_FAST | DS0_PULL_UP_DOWN_EN | MUX_MODE0) /* uart0_rxd.uart0_rxd */
			0x174 (PIN_INPUT | PULL_DISABLE | SLEWCTRL_FAST | DS0_PULL_UP_DOWN_EN | MUX_MODE0) /* uart0_txd.uart0_txd */
		>;
	};
	
	uart0_pins_sleep: uart0_pins_sleep {
		pinctrl-single,pins = <
			0x168 (DS0_PULL_UP_DOWN_EN | INPUT_EN | MUX_MODE7)
			0x16C (DS0_PULL_UP_DOWN_EN | INPUT_EN | MUX_MODE7)
			0x170 (PIN_INPUT_PULLUP | SLEWCTRL_FAST | DS0_PULL_UP_DOWN_EN | MUX_MODE0) /* uart0_rxd.uart0_rxd */
			0x174 (PIN_INPUT_PULLDOWN | SLEWCTRL_FAST | DS0_PULL_UP_DOWN_EN | MUX_MODE0) /* uart0_txd.uart0_txd */
		>;
	};

	uart3_pins_default: uart3_pins_default {
		pinctrl-single,pins = <
			0x228 ( PIN_INPUT_PULLUP | MUX_MODE0 ) /* (H25) uart3_rxd.uart3_rxd */
			0x22c ( PIN_OUTPUT_PULLDOWN | MUX_MODE0 ) /* (H24) uart3_txd.uart3_txd */
			0x230 ( PIN_INPUT_PULLUP | MUX_MODE0 ) /* (H22) uart3_ctsn.uart3_ctsn */
			0x234 ( PIN_OUTPUT_PULLDOWN | MUX_MODE0 ) /* (K24) uart3_rtsn.uart3_rtsn */
		>;
	};

	/* Optional sleep pin settings. Must manually enter values in the below skeleton. */
	uart3_pins_sleep: uart3_pins_sleep {
		pinctrl-single,pins = <
			0x228 (PIN_INPUT_PULLUP | MUX_MODE7 ) /* (H25) uart3_rxd.uart3_rxd */
			0x22c (PIN_INPUT_PULLUP | MUX_MODE7 ) /* (H24) uart3_txd.uart3_txd */
			0x230 (PIN_INPUT_PULLUP | MUX_MODE7 ) /* (H22) uart3_ctsn.uart3_ctsn */
			0x234 (PIN_INPUT_PULLUP | MUX_MODE7 ) /* (K24) uart3_rtsn.uart3_rtsn */
		>;
	};
	
	uart5_pins_default: uart5_pins_default {
		pinctrl-single,pins = <
			0x10c ( PIN_INPUT | MUX_MODE5 ) /* (B14) mii1_crs.uart5_ctsn */
			0x110 ( PIN_OUTPUT | MUX_MODE5 ) /* (B13) mii1_rx_er.uart5_rtsn */
			0x108 ( PIN_INPUT_PULLUP | MUX_MODE3 ) /* (D16) mii1_col.uart5_rxd */
			0x144 ( PIN_OUTPUT_PULLDOWN | MUX_MODE3 ) /* (A16) rmii1_ref_clk.uart5_txd */
		>;
	};
/* Optional sleep pin settings. Must manually enter values in the below skeleton. */
	uart5_pins_sleep: uart5_pins_sleep {
		pinctrl-single,pins = <
			0x10c (PIN_INPUT_PULLUP | MUX_MODE7 ) /* (B14) mii1_crs.uart5_ctsn */
			0x110 (PIN_INPUT_PULLUP | MUX_MODE7 ) /* (B13) mii1_rx_er.gpio3[2] */
			0x108 (PIN_INPUT_PULLUP | MUX_MODE7 ) /* (D16) mii1_col.uart5_rxd */
			0x144 (PIN_INPUT_PULLUP | MUX_MODE7 ) /* (A16) mii1_rx_dv.uart5_txd */
		>;
	};

	spi0_pins_default: spi0_pins_default {
		pinctrl-single,pins = <
			0x150 ( PIN_INPUT | MUX_MODE0 ) /* (P23) spi0_sclk.spi0_sclk */
			0x154 ( PIN_INPUT | MUX_MODE0 ) /* (T22) spi0_d0.spi0_d0 */
			0x158 ( PIN_INPUT | MUX_MODE0 ) /* (T21) spi0_d1.spi0_d1 */
			0x15c ( PIN_OUTPUT | MUX_MODE0 ) /* (T20) spi0_cs0.spi0_cs0 */
		>;
	};

	/* Optional sleep pin settings. Must manually enter values in the below skeleton. */
	spi0_pins_sleep: spi0_pins_sleep {
		pinctrl-single,pins = <
			0x150 (PIN_INPUT_PULLUP | MUX_MODE7 ) /* (P23) spi0_sclk.spi0_sclk */
			0x154 (PIN_INPUT_PULLUP | MUX_MODE7 ) /* (T22) spi0_d0.spi0_d0 */
			0x158 (PIN_INPUT_PULLUP | MUX_MODE7 ) /* (T21) spi0_d1.spi0_d1 */
			0x15c (PIN_INPUT_PULLUP | MUX_MODE7 ) /* (T20) spi0_cs0.spi0_cs0 */
		>;
	};
	
	spi4_pins_default: spi4_pins_default {
		pinctrl-single,pins = <
			0x250 ( PIN_INPUT | MUX_MODE0 ) /* (P25) spi4_sclk.spi4_sclk */
			0x254 ( PIN_INPUT | MUX_MODE0 ) /* (R24) spi4_d0.spi4_d0 */
			0x258 ( PIN_INPUT | MUX_MODE0 ) /* (P24) spi4_d1.spi4_d1 */
			0x25c ( PIN_OUTPUT | MUX_MODE0 ) /* (N25) spi4_cs0.spi4_cs0 */
		>;
	};

	/* Optional sleep pin settings. Must manually enter values in the below skeleton. */
	spi4_pins_sleep: spi4_pins_sleep {
		pinctrl-single,pins = <
			0x250 (PIN_INPUT_PULLUP | MUX_MODE7  ) /* (P25) spi4_sclk.spi4_sclk */
			0x254 (PIN_INPUT_PULLUP | MUX_MODE7  ) /* (R24) spi4_d0.spi4_d0 */
			0x258 (PIN_INPUT_PULLUP | MUX_MODE7  ) /* (P24) spi4_d1.spi4_d1 */
			0x25c (PIN_INPUT_PULLUP | MUX_MODE7  ) /* (N25) spi4_cs0.spi4_cs0 */
		>;
	};
	
	gpio0_pins: gpio0_pins_default {
		pinctrl-single,pins = <
			0x74 ( PIN_OUTPUT_PULLUP | MUX_MODE7 ) /* (B3) gpmc_wpn.gpio0[31] */   // EMMC_RST
		>;
	};


	gpio3_pins: gpio3_pins_default {
		pinctrl-single,pins = <
		0x2a4 ( PIN_OUTPUT_PULLUP | MUX_MODE7 ) /* (N23) EMU1.gpio3[7] */
		0x2a8 ( PIN_OUTPUT | MUX_MODE7 ) /* (T24) EMU1.gpio3[8] */
		>;
	};

    	unused_pins_default: pinmux_unused_pins_default {
		pinctrl-single,pins = <
			0x238 ( PIN_INPUT_PULLDOWN | MUX_MODE7 ) /* (D25) gpio5_8.gpio5[8] */
			0x23c ( PIN_INPUT_PULLDOWN | MUX_MODE7)  // GPIO5_9
			>;
        };

	unused_pins_sleep: pinmux_unused_pins_sleep {
		pinctrl-single,pins = <
			0x238 ( PIN_INPUT_PULLDOWN | MUX_MODE7 ) /* (D25) gpio5_8.gpio5[8] */
			0x23c ( PIN_INPUT_PULLDOWN | MUX_MODE7)
			>;
        };

	usb1_pins_default: usb1_pins_default {
		pinctrl-single,pins = <
			0x2c0 (DS0_PULL_UP_DOWN_EN | PIN_INPUT_PULLDOWN | MUX_MODE0)
		>;
	};

	usb1_pins_sleep: usb1_pins_sleep {
		pinctrl-single,pins = <
			0x2c0 (DS0_PULL_UP_DOWN_EN | PIN_INPUT_PULLDOWN | MUX_MODE7)
		>;
	};

	usb2_pins_default: usb2_pins_default {
		pinctrl-single,pins = <
			0x2c4 (DS0_PULL_UP_DOWN_EN | PIN_INPUT_PULLDOWN | MUX_MODE0)
		>;
	};

	usb2_pins_sleep: usb2_pins_sleep {
		pinctrl-single,pins = <
			0x2c4 (DS0_PULL_UP_DOWN_EN | PIN_INPUT_PULLDOWN | MUX_MODE7)
		>;
	};
};

&i2c0 {
	status = "okay";
	pinctrl-names = "default", "sleep";
	pinctrl-0 = <&i2c0_pins_default>;
	pinctrl-1 = <&i2c0_pins_sleep>;
	clock-frequency = <100000>;

	at24@50 {
		compatible = "at24,24c256";
		pagesize = <64>;
		reg = <0x50>;
		};

	ds3231@68 {
		status="disabled";
		compatible = "ds3231";
		reg = <0x68>;
	};
		
	tps65218: tps65218@24 {
		reg = <0x24>;
		compatible = "ti,tps65218";
		interrupts = <GIC_SPI 7 IRQ_TYPE_LEVEL_HIGH>;
		interrupt-controller;
		#interrupt-cells = <2>;

		dcdc1: regulator-dcdc1 {
			compatible = "ti,tps65218-dcdc1";
			/* VDD_CORE limits min of OPP50 and max of OPP100 */
			regulator-name = "vdd_core";
			regulator-min-microvolt = <912000>;
			regulator-max-microvolt = <1144000>;
			regulator-boot-on;
			regulator-always-on;
		};

		dcdc2: regulator-dcdc2 {
			compatible = "ti,tps65218-dcdc2";
			/* VDD_MPU limits min of OPP50 and max of OPP_NITRO */
			regulator-name = "vdd_mpu";
			regulator-min-microvolt = <912000>;
			regulator-max-microvolt = <1378000>;
			regulator-boot-on;
			regulator-always-on;
		};

		dcdc3: regulator-dcdc3 {
			compatible = "ti,tps65218-dcdc3";
			regulator-name = "vdds_ddr";
			regulator-min-microvolt = <1500000>;
			regulator-max-microvolt = <1500000>;
			regulator-boot-on;
			regulator-always-on;
			regulator-state-mem {
				regulator-on-in-suspend;
			};
			regulator-state-disk {
				regulator-off-in-suspend;
			};
		};

		dcdc4: regulator-dcdc4 {
			compatible = "ti,tps65218-dcdc4";
			regulator-name = "v3_3d";
			regulator-min-microvolt = <3300000>;
			regulator-max-microvolt = <3300000>;
			regulator-boot-on;
			regulator-always-on;
		};

		dcdc5: regulator-dcdc5 {
			compatible = "ti,tps65218-dcdc5";
			regulator-name = "v1_0bat";
			regulator-min-microvolt = <1000000>;
			regulator-max-microvolt = <1000000>;
			regulator-boot-on;
			regulator-always-on;
			regulator-state-mem {
				regulator-on-in-suspend;
			};
		};

		dcdc6: regulator-dcdc6 {
			compatible = "ti,tps65218-dcdc6";
			regulator-name = "v1_8bat";
			regulator-min-microvolt = <1800000>;
			regulator-max-microvolt = <1800000>;
			regulator-boot-on;
			regulator-always-on;
			regulator-state-mem {
				regulator-on-in-suspend;
			};
		};

		ldo1: regulator-ldo1 {
			compatible = "ti,tps65218-ldo1";
			regulator-name = "v1_8d";
			regulator-min-microvolt = <1800000>;
			regulator-max-microvolt = <1800000>;
			regulator-boot-on;
			regulator-always-on;
		};

		power-button {
			compatible = "ti,tps65218-pwrbutton";
			status = "okay";
			interrupts = <3 IRQ_TYPE_EDGE_BOTH>;
		};
	};

        ov2659@30 {
		compatible = "ovti,ov2659";
		reg = <0x30>;

		clocks = <&clkout2_ck>;
		clock-names = "xvclk";

		port {
			ov2659_0: endpoint {
				remote-endpoint = <&vpfe0_ep>;
				link-frequencies = /bits/ 64 <70000000>;
			};
		};
	};
};

&i2c1 {
	status = "okay";
	pinctrl-names = "default", "sleep";
	pinctrl-0 = <&i2c1_pins_default>;
	pinctrl-1 = <&i2c1_pins_sleep>;
	pixcir_ts@5c {
		status="disabled";
		compatible = "pixcir,pixcir_tangoc";
		pinctrl-names = "default", "sleep";
		pinctrl-0 = <&pixcir_ts_pins_default>;
		pinctrl-1 = <&pixcir_ts_pins_sleep>;
		reg = <0x5c>;
		interrupt-parent = <&gpio3>;
		interrupts = <22 0>;

		attb-gpio = <&gpio3 22 GPIO_ACTIVE_HIGH>;

		interrupts-extended = <&gpio3 22 GPIO_ACTIVE_HIGH>,
				      <&am43xx_pinmux 0x264>;

		touchscreen-size-x = <1024>;
		touchscreen-size-y = <600>;
	};
	
	ft0x5x_ts@38 {
	        compatible = "ft5x06_ts";
		pinctrl-names = "default","sleep";
		pinctrl-0 = <&ft5x0x_pins_default>;
		pinctrl-1 = <&ft5x0x_pins_sleep>;
	        reg = <0x38>;
	        tp_int = <&gpio3 22 1>;
	        tp_resetn = <&gpio3 23 1>;
	        polling_mode = /bits/ 8 <0>;
	        multi_touch = /bits/ 8 <0>;
	    };

	tlv320aic3106: tlv320aic3106@1b {
		#sound-dai-cells = <0>;
		compatible = "ti,tlv320aic3106";
		reg = <0x1b>;
		status = "disabled";

		/* Regulators */
		IOVDD-supply = <&dcdc4>; /* V3_3D -> <tps63031> EN: V1_8D -> VBAT */
		AVDD-supply = <&dcdc4>; /* v3_3AUD -> V3_3D -> ... */
		DRVDD-supply = <&dcdc4>; /* v3_3AUD -> V3_3D -> ... */
		DVDD-supply = <&ldo1>; /* V1_8D -> LDO1 */
	};

	sgtl5000: sgtl5000@0a {
		#sound-dai-cells = <0>;
		compatible = "fsl,sgtl5000";
		clocks=<&mcasp1_fck>;
		reg =<0x0a>;
        	micbias-resistor-k-ohms = <4>;
        	micbias-voltage-m-volts = <2250>;
		status = "okay";

		/* Regulators */
		VDDA-supply = <&dcdc4>;
		VDDIO-supply = <&dcdc4>;
	};


	ov2659@30 {
		compatible = "ovti,ov2659";
		reg = <0x30>;

		clocks = <&clkout2_ck>;
		clock-names = "xvclk";
		port {
			ov2659_1: endpoint {
				remote-endpoint = <&vpfe1_ep>;
				link-frequencies = /bits/ 64 <70000000>;
			};
		};
	};
};

&clkout2_ck {
	status = "okay";
};

&clkout2_src_mux_ck {
	status="okay";
	assigned-clocks = <&clkout2_src_mux_ck>;
	assigned-clock-parents = <&dpll_per_m2_ck>;
};

&clkout2_src_post_div_ck {
	status = "okay";
	assigned-clocks = <&clkout2_src_post_div_ck>;
	assigned-clock-rates = <24000000>;
};
	
&epwmss0 {
	status = "okay";
};

&tscadc {
	status = "okay";
	tsc {
		ti,wires = <4>;
		ti,x-plate-resistance = <200>;
		ti,coordinate-readouts = <5>;
		ti,wire-config = <0x00 0x11 0x22 0x33>;
		ti,charge-delay = <0x400>;
	};
};
 /* 4.3 inch, 480x272 resolution LCD, MYiR */
/*
&tscadc {
	status = "okay";
	tsc {
		ti,wires = <4>;
		ti,x-plate-resistance = <300>;
		ti,coordinate-readouts = <5>;
		ti,wire-config = <0x00 0x11 0x22 0x33>;
		ti,charge-delay = <0x400>;
	};
};
*/
&adc1 {
	status = "okay";
	ti,adc-channels = <0 1 2 3 4 5 6 7>;
};

&ecap0 {
	status = "okay";
	pinctrl-names = "default", "sleep";
	pinctrl-0 = <&ecap0_pins_default>;
	pinctrl-1 = <&ecap0_pins_sleep>;
};

&gpio0 {
//	pinctrl-names = "default";
//	pinctrl-0 = <&gpio0_pins>;
	status = "okay";

//	p31 {
//		gpio-hog;
//		gpios = <31 GPIO_ACTIVE_HIGH>;
//		output-high;
//		line-name = "EMMC_RST";
//	};
};

&gpio1 {
	status = "okay";
};

&gpio2 {
	status = "okay";
};

&gpio3 {
	status = "okay";
};

&gpio5 {
	status = "okay";
};

&mmc1 {
	status = "okay";
	vmmc-supply = <&dcdc4>;
	bus-width = <4>;
	pinctrl-names = "default", "sleep";
	pinctrl-0 = <&mmc1_pins_default>;
	pinctrl-1 = <&mmc1_pins_sleep>;
	cd-gpios = <&gpio0 6 GPIO_ACTIVE_HIGH>;
};
/* eMMC sits on mmc2 */
&mmc2 {
	/*
	 * When enabling eMMC, disable GPMC/NAND and set
	 * SelEMMCorNAND to output-high
	 */
	status = "okay";
	vmmc-supply = <&dcdc4>;
	bus-width = <8>;
	pinctrl-names = "default", "sleep";
	pinctrl-0 = <&emmc_pins_default>;
	pinctrl-1 = <&emmc_pins_sleep>;
	ti,non-removable;
};

&usb2_phy1 {
	status = "okay";
};

&usb1 {
	dr_mode = "otg";
	status = "okay";
	pinctrl-names = "default", "sleep";
	pinctrl-0 = <&usb1_pins_default>;
	pinctrl-1 = <&usb1_pins_sleep>;
};

&usb2_phy2 {
	status = "okay";
};

&usb2 {
	dr_mode = "host";
	status = "okay";
	pinctrl-names = "default", "sleep";
	pinctrl-0 = <&usb2_pins_default>;
	pinctrl-1 = <&usb2_pins_sleep>;
};

&mac {
	pinctrl-names = "default", "sleep";
	pinctrl-0 = <&cpsw_default>;
	pinctrl-1 = <&cpsw_sleep>;
//	dual_emac = <1>;
	status = "okay";
};

&davinci_mdio {
	pinctrl-names = "default", "sleep";
	pinctrl-0 = <&davinci_mdio_default>;
	pinctrl-1 = <&davinci_mdio_sleep>;
	status = "okay";
};

&cpsw_emac0 {
	phy_id = <&davinci_mdio>, <0>;
	phy-mode = "rgmii";
//	dual_emac_res_vlan = <1>;
};

&cpsw_emac1 {
	status="disabled";
	phy_id = <&davinci_mdio>, <1>;
	phy-mode = "rgmii";
	dual_emac_res_vlan = <2>;
};

&elm {
	status = "okay";
};

&gpmc {
	/*
	 * When enabling NAND on GPMC, disable eMMC
	 */
	status = "disabled";
	pinctrl-names = "default", "sleep";
	pinctrl-0 = <&nand_flash_x8_default>;
	pinctrl-1 = <&nand_flash_x8_sleep>;
	ranges = <0 0 0x08000000 0x01000000>;	/* CS0 space. Min partition = 16MB */
	nand@0,0 {
		compatible = "ti,omap2-nand";
		reg = <0 0 4>;		/* device IO registers */
		interrupt-parent = <&gic>;
		interrupts = <GIC_SPI 100 IRQ_TYPE_LEVEL_HIGH>;
		ready-gpio = <&gpmc 0 GPIO_ACTIVE_HIGH>;	/* gpmc_wait0 */
		ti,nand-ecc-opt = "bch16";
		ti,elm-id = <&elm>;
		nand-bus-width = <8>;
		gpmc,device-width = <1>;
		gpmc,sync-clk-ps = <0>;
		gpmc,cs-on-ns = <0>;
		gpmc,cs-rd-off-ns = <40>;
		gpmc,cs-wr-off-ns = <40>;
		gpmc,adv-on-ns = <0>;
		gpmc,adv-rd-off-ns = <25>;
		gpmc,adv-wr-off-ns = <25>;
		gpmc,we-on-ns = <0>;
		gpmc,we-off-ns = <20>;
		gpmc,oe-on-ns = <3>;
		gpmc,oe-off-ns = <30>;
		gpmc,access-ns = <30>;
		gpmc,rd-cycle-ns = <40>;
		gpmc,wr-cycle-ns = <40>;
		gpmc,bus-turnaround-ns = <0>;
		gpmc,cycle2cycle-delay-ns = <0>;
		gpmc,clk-activation-ns = <0>;
		gpmc,wr-access-ns = <40>;
		gpmc,wr-data-mux-bus-ns = <0>;
		/* MTD partition table */
		/* All SPL-* partitions are sized to minimal length
		 * which can be independently programmable. For
		 * NAND flash this is equal to size of erase-block */
		#address-cells = <1>;
		#size-cells = <1>;
		partition@0 {
			label = "NAND.SPL";
			reg = <0x00000000 0x00040000>;
		};
		partition@1 {
			label = "NAND.SPL.backup1";
			reg = <0x00040000 0x00040000>;
		};
		partition@2 {
			label = "NAND.SPL.backup2";
			reg = <0x00080000 0x00040000>;
		};
		partition@3 {
			label = "NAND.SPL.backup3";
			reg = <0x000c0000 0x00040000>;
		};
		partition@4 {
			label = "NAND.u-boot-spl-os";
			reg = <0x00100000 0x00080000>;
		};
		partition@5 {
			label = "NAND.u-boot";
			reg = <0x00180000 0x00100000>;
		};
		partition@6 {
			label = "NAND.u-boot-env";
			reg = <0x00280000 0x00040000>;
		};
		partition@7 {
			label = "NAND.u-boot-env.backup1";
			reg = <0x002c0000 0x00040000>;
		};
		partition@8 {
			label = "NAND.kernel";
			reg = <0x00300000 0x00700000>;
		};
		partition@9 {
			label = "NAND.file-system";
			reg = <0x00a00000 0x1f600000>;
		};
	};
};

/* Enable qspi, 16MB S25FL128S norflash, MYiR */
&qspi {
	status = "okay";	/* Disable GPMC (NAND) when enabling QSPI */
	pinctrl-names = "default";
	pinctrl-0 = <&qspi1_default>;

	spi-max-frequency = <24000000>;
	m25p80@0 {
		compatible = "s25fl128s";
		spi-max-frequency = <24000000>;
		reg = <0>;
		spi-cpol;
		spi-cpha;
		spi-tx-bus-width = <1>;
		spi-rx-bus-width = <4>;
		#address-cells = <1>;
		#size-cells = <1>;

		/* MTD partition table.
		 * The ROM checks the first 512KiB
		 * for a valid file to boot(XIP).
		 */
		partition@0 {
			label = "QSPI.U_BOOT";
			reg = <0x00000000 0x000080000>;
		};
		partition@1 {
			label = "QSPI.U_BOOT.backup";
			reg = <0x00080000 0x00080000>;
		};
		partition@2 {
			label = "QSPI.U_BOOT_ENV";
			reg = <0x00100000 0x00020000>;
		};
		partition@3 {
			label = "QSPI.U-BOOT-ENV.backup";
			reg = <0x00120000 0x00020000>;
		};
		partition@4 {
			label = "QSPI.U-BOOT-DEVICETREE";
			reg = <0x00140000 0x00010000>;
		};
		partition@5 {
			label = "QSPI.KERNEL";
			reg = <0x00150000 0x0500000>;
		};
		partition@6 {
			label = "QSPI.FILESYSTEM";
			reg = <0x00650000 0x9B0000>;
		};
	};
};

&uart0 {
	status = "okay";
	pinctrl-names = "default", "sleep";
	pinctrl-0 = <&uart0_pins_default>;
	pinctrl-1 = <&uart0_pins_sleep>;
};

&uart3 {
	status = "okay";
	pinctrl-names = "default", "sleep";
	pinctrl-0 = <&uart3_pins_default>;
	pinctrl-1 = <&uart3_pins_sleep>;
};

&uart5 {
	status = "okay";
	pinctrl-names = "default", "sleep";
	pinctrl-0 = <&uart5_pins_default>;
	pinctrl-1 = <&uart5_pins_sleep>;
//	rts-gpio = <&gpio3 2 GPIO_ACTIVE_HIGH>;
//	rs485-rts-active-high;
//	rs485-rx-during-tx="false";
//	rs485-rts-delay = <1 1>;
//	linux,rs485-enabled-at-boot-time;
};

&spi0 {
	status = "okay";
	pinctrl-names = "default";
	pinctrl-0 = <&spi0_pins_default>;
	ti,pindir-d0-in-d1-out =<1>; // optional

	spidev@0{
		compatible = "rohm,dh2228fv";
		spi-max-frequency = <48000000>;
		reg =<0x0>;
		};
};

&spi4 {
	status = "okay";
	pinctrl-names = "default";
	pinctrl-0 = <&spi4_pins_default>;
	ti,pindir-d0-in-d1-out =<1>; // optional

	spidev@4{
		compatible = "rohm,dh2228fv";
		spi-max-frequency = <48000000>;
		reg =<0x0>;
		};
};

&dss {
	status = "ok";

	pinctrl-names = "default", "sleep";
	pinctrl-0 = <&dss_pinctrl_default>;
	pinctrl-1 = <&dss_pinctrl_sleep>;

	port {
		dpi_out: endpoint@0 {
			remote-endpoint = <&lcd_in>;
			data-lines = <24>;
		};
	};
};

&dcan0 {
	pinctrl-names = "default", "sleep";
	pinctrl-0 = <&dcan0_default>;
	pinctrl-1 = <&dcan0_sleep>;
	status = "okay";
};

&dcan1 {
	pinctrl-names = "default", "sleep";
	pinctrl-0 = <&dcan1_default>;
	pinctrl-1 = <&dcan1_sleep>;
	status = "okay";
};

&vpfe0 {
	status = "okay";
	pinctrl-names = "default", "sleep";
	pinctrl-0 = <&vpfe0_pins_default>;
	pinctrl-1 = <&vpfe0_pins_sleep>;

	port {
		vpfe0_ep: endpoint {
			remote-endpoint = <&ov2659_0>;
			ti,am437x-vpfe-interface = <0>;
			bus-width = <8>;
			hsync-active = <0>;
			vsync-active = <0>;
		};
	};
};

&vpfe1 {
	status = "okay";
	pinctrl-names = "default", "sleep";
	pinctrl-0 = <&vpfe1_pins_default>;
	pinctrl-1 = <&vpfe1_pins_sleep>;

	port {
		vpfe1_ep: endpoint {
			remote-endpoint = <&ov2659_1>;
			ti,am437x-vpfe-interface = <0>;
			bus-width = <8>;
			hsync-active = <0>;
			vsync-active = <0>;
		};
	};
};

&mcasp0 {
	#sound-dai-cells = <0>;
	pinctrl-names = "default", "sleep";
	pinctrl-0 = <&mcasp0_pins_default>;
	pinctrl-1 = <&mcasp0_pins_sleep>;

	status = "okay";

	op-mode = <0>; /* MCASP_IIS_MODE */
	tdm-slots = <2>;
	/* 4 serializers */
	serial-dir = <  /* 0: INACTIVE, 1: TX, 2: RX */
		1 2 0 0
	>;
	tx-num-evt = <32>;
	rx-num-evt = <32>;
};

&mcasp1 {
	#sound-dai-cells = <0>;
	pinctrl-names = "default", "sleep";
	pinctrl-0 = <&mcasp1_pins>;
	pinctrl-1 = <&mcasp1_sleep_pins>;

	status = "disabled";

	op-mode = <0>; /* MCASP_IIS_MODE */
	tdm-slots = <2>;
	/* 4 serializers */
	serial-dir = <  /* 0: INACTIVE, 1: TX, 2: RX */
		1 2 0 0
	>;
	tx-num-evt = <32>;
	rx-num-evt = <32>;
};

&wkup_m3_ipc {
	ti,set-io-isolation;
	ti,scale-data-fw = "am43x-evm-scale-data.bin";
};

&cpu {
	cpu0-supply = <&dcdc2>;
};

&rtc {
	status = "okay";
	ext-clk-src;
};

&sgx {
	status = "okay";
};
